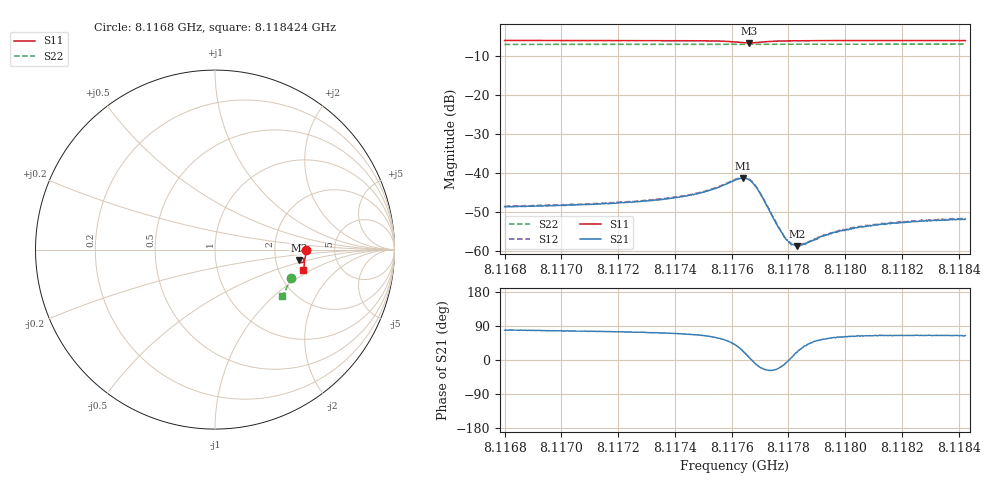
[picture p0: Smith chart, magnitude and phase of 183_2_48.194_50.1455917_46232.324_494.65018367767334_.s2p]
#  HZ  S  RI  R  50.00
! Rohde & Schwarz Vector Network Analyzer
! Rohde-Schwarz,ZNB20-2Port,1311601062101988,3.16
! Created: UTC 3/20/2024, 11:44:13 AM
! freq[Hz]  re:S11  im:S11  re:S21  im:S21  re:S12  im:S12  re:S22  im:S22
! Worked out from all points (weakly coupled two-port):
!   401 points, 8.1168 GHz to 8.118424 GHz, reference 50 ohm
!   highest |S21| = -41.21 dB at 8.11764 GHz (marker M1); lowest = -58.7 dB at 8.117831 GHz (marker M2)
!   lowest |S11| = -6.5 dB at 8.11766 GHz (marker M3), VSWR 2.78, Z = 135 - j20.5 ohm
!   |S11| at or under -10 dB: nowhere
!   |S22| runs from -6.9 to -6.8 dB; largest |S21 - S12| = 0.00026
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8.1167996e9  0.5065 -0.00169  0.000722 0.00365  0.000748 0.00369  0.4226 -0.1561
8.1170716e9  0.5054 -0.023  0.000969 0.00384  0.000961 0.00391  0.4164 -0.174
8.1173436e9  0.5026 -0.0456  0.00145 0.00434  0.00153 0.00443  0.4091 -0.1917
8.1174492e9  0.5001 -0.056  0.00197 0.00482  0.00206 0.00487  0.4063 -0.1985
8.1175061e9  0.4974 -0.0625  0.00255 0.00522  0.00265 0.00525  0.4046 -0.2021
8.1175507e9  0.4931 -0.0681  0.00344 0.00558  0.00359 0.00566  0.4031 -0.205
8.1176116e9  0.4798 -0.0732  0.00624 0.0053  0.00641 0.00535  0.4006 -0.2089
8.11764e9  0.4701 -0.0681  0.00799 0.00344  0.00821 0.00345  0.3995 -0.2103
8.1176603e9  0.4671 -0.059  0.00823 0.00111  0.00839 0.00105  0.3989 -0.211
8.1176766e9  0.4699 -0.0515  0.00734 -0.000644  0.00747 -0.000705  0.3987 -0.2116
8.1176928e9  0.4758 -0.0472  0.00588 -0.00164  0.006 -0.00169  0.3985 -0.2124
8.1177578e9  0.4933 -0.0524  0.00202 -0.000925  0.00209 -0.000951  0.3973 -0.2169
8.1177862e9  0.496 -0.0571  0.00149 -0.000303  0.00148 -0.000302  0.3966 -0.2187
8.1178065e9  0.4972 -0.0599  0.00127 8e-05  0.00129 6.03e-05  0.3959 -0.2201
8.1178309e9  0.4979 -0.0633  0.00108 0.000419  0.00111 0.000436  0.3952 -0.2217
8.1178512e9  0.4984 -0.0659  0.00102 0.000671  0.00105 0.000683  0.3946 -0.223
8.1178837e9  0.4986 -0.0696  0.00094 0.00098  0.000946 0.000989  0.3936 -0.2252
8.1179283e9  0.4985 -0.0743  0.000912 0.0013  0.0009 0.00137  0.3922 -0.228
8.1179852e9  0.498 -0.0797  0.000901 0.0016  0.000913 0.00161  0.3902 -0.2314
8.1180704e9  0.497 -0.0873  0.000925 0.00187  0.000957 0.00193  0.3873 -0.2368
8.1181557e9  0.4959 -0.0943  0.000959 0.00206  0.00099 0.00207  0.3843 -0.242
8.1184237e9  0.4916 -0.1151  0.00112 0.00233  0.00115 0.00237  0.3747 -0.2581
